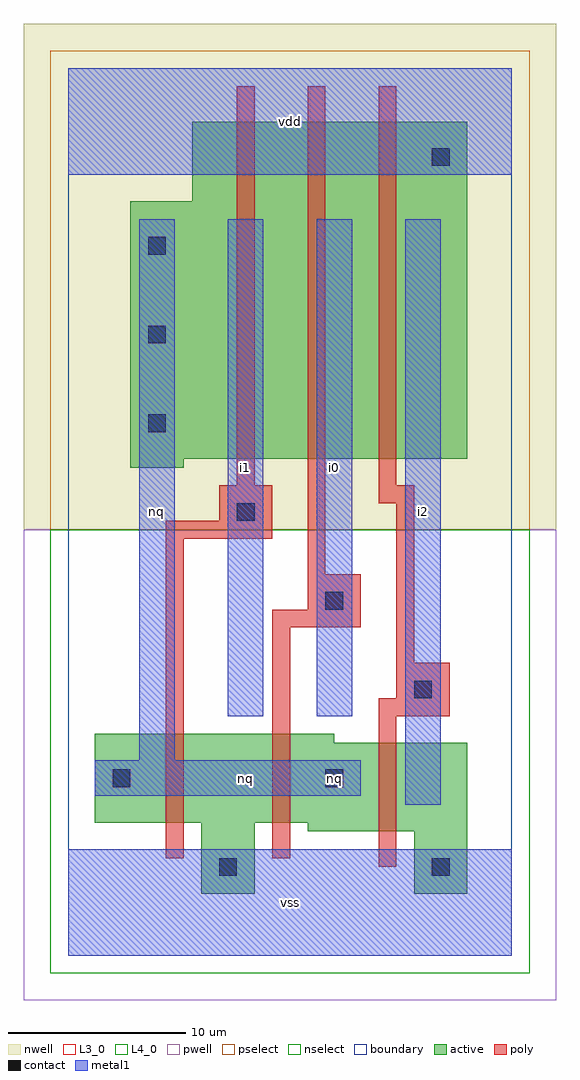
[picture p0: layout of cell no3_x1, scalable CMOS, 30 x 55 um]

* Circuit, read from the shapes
.subckt no3_x1 i0 i1 i2 nq vdd vss
M1 vss i1 nq VSUBS nfet w=5u l=1u
M2 nq i0 vss VSUBS nfet w=5u l=1u
M3 vss i2 nq VSUBS nfet w=5u l=1u
M4 n1 i1 nq n2 pfet w=19u l=1u
M5 n3 i0 n1 n2 pfet w=19u l=1u
M6 vdd i2 n3 n2 pfet w=19u l=1u
.ends

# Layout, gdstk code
import gdstk
lib = gdstk.Library(unit=1e-6, precision=1e-09)
def R(c, l, rs):  # rectangles x0, y0, x1, y1
    for r in rs: c.add(gdstk.rectangle(r[:2], r[2:], *l))
def A(c, l, x, y, w, h, nx, ny, dx, dy):  # array of equal rectangles
    R(c, l, [(x+i*dx, y+j*dy, x+i*dx+w, y+j*dy+h) for i in range(nx) for j in range(ny)])
L3_0 = (3, 0)
L4_0 = (4, 0)
contact = (25, 0)
pwell = (41, 0)
nwell = (42, 0)
active = (43, 0)
pselect = (44, 0)
nselect = (45, 0)
poly = (46, 0)
metal1 = (49, 0)
boundary = (63, 0)

no3_x1 = lib.new_cell('no3_x1')
R(no3_x1, L3_0, [(7.5,3.5,10.5,7.5), (19.5,3.5,22.5,7), (13.5,7,22.5,7.5), (1.5,7.5,22.5,12), (1.5,12,15,12.5)])
R(no3_x1, L4_0, [(3.5,27.5,6.5,28), (3.5,28,22.5,42.5), (7,42.5,22.5,47)])
A(no3_x1, contact, 4.5, 29.5, 1, 1, 1, 3, 0, 5)
R(no3_x1, contact, [(8.5,4.5,9.5,5.5), (20.5,4.5,21.5,5.5), (2.5,9.5,3.5,10.5), (14.5,9.5,15.5,10.5), (19.5,14.5,20.5,15.5), (14.5,19.5,15.5,20.5), (9.5,24.5,10.5,25.5), (20.5,44.5,21.5,45.5)])
R(no3_x1, pwell, [(-2.5,-2.5,27.5,24)])
R(no3_x1, nwell, [(-2.5,24,27.5,52.5)])
R(no3_x1, active, [(7.5,3.5,10.5,7.5), (19.5,3.5,22.5,7), (13.5,7,22.5,7.5), (1.5,7.5,22.5,12), (1.5,12,15,12.5), (3.5,27.5,6.5,28), (3.5,28,22.5,42.5), (7,42.5,22.5,47)])
R(no3_x1, pselect, [(-1,24,26,51)])
R(no3_x1, nselect, [(-1,-1,26,24)])
R(no3_x1, poly, [(17.5,5,18.5,13.5), (5.5,5.5,6.5,23.5), (11.5,5.5,12.5,18.5), (17.5,13.5,21.5,14.5), (18.5,14.5,21.5,16.5), (18.5,16.5,19.5,25.5), (11.5,18.5,16.5,19.5), (13.5,19.5,16.5,21.5), (13.5,21.5,14.5,49), (5.5,23.5,11.5,24.5), (8.5,24.5,11.5,26.5), (17.5,25.5,19.5,26.5), (9.5,26.5,10.5,49), (17.5,26.5,18.5,49)])
R(no3_x1, metal1, [(0,0,25,6), (0,0,25,6), (19,8.5,21,41.5), (19,8.5,21,41.5), (1.5,9,16.5,11), (1.5,9,16.5,11), (4,11,6,41.5), (4,11,6,41.5), (9,13.5,11,41.5), (9,13.5,11,41.5), (14,13.5,16,41.5), (14,13.5,16,41.5), (0,44,25,50), (0,44,25,50)])
R(no3_x1, boundary, [(0,0,25,50)])
no3_x1.add(gdstk.Label('nq', (10,10), layer=49, texttype=0))
no3_x1.add(gdstk.Label('nq', (5,25), layer=49, texttype=0))
no3_x1.add(gdstk.Label('i1', (10,27.5), layer=49, texttype=0))
no3_x1.add(gdstk.Label('vss', (12.5,3), layer=49, texttype=0))
no3_x1.add(gdstk.Label('nq', (15,10), layer=49, texttype=0))
no3_x1.add(gdstk.Label('i0', (15,27.5), layer=49, texttype=0))
no3_x1.add(gdstk.Label('vdd', (12.5,47), layer=49, texttype=0))
no3_x1.add(gdstk.Label('i2', (20,25), layer=49, texttype=0))

lib.write_gds('no3_x1.gds')
